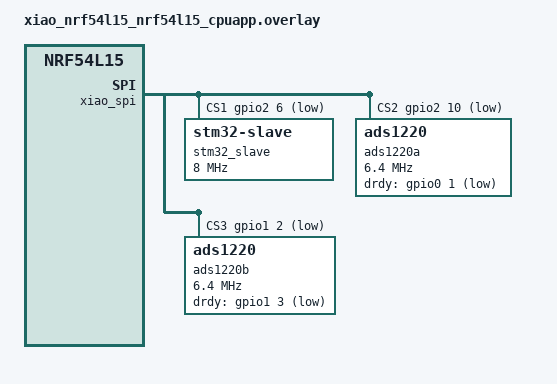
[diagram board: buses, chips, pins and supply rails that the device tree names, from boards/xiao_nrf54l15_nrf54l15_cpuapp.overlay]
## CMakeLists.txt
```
#
# Copyright (c) 2018 Nordic Semiconductor
#
# SPDX-License-Identifier: LicenseRef-Nordic-5-Clause
#
cmake_minimum_required(VERSION 3.20.0)

set(BOARD_FLASH_RUNNER nrfutil)
set(BOARD_ROOT $ENV{ZEPHYR_BASE} CACHE PATH "" FORCE)
find_package(Zephyr REQUIRED HINTS $ENV{ZEPHYR_BASE})
project(app_esb_receiver)

include(${CMAKE_CURRENT_SOURCE_DIR}/../common/CMakeLists.txt)

target_sources(app PRIVATE
    src/main.cpp
)

exo_add_ads1220_spi(app)
```

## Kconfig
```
#
# Copyright (c) 2025
#
# SPDX-License-Identifier: LicenseRef-Nordic-5-Clause
#

source "Kconfig.zephyr"

rsource "../common/Kconfig"
```

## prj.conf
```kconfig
#
# Copyright (c) 2019 Nordic Semiconductor ASA
#
# SPDX-License-Identifier: LicenseRef-Nordic-5-Clause
#

#------ APP node ID ----
# EXO_NODE_ESB_RECEIVER
CONFIG_EXO_NODE_ID=1

#------ logging AND console ----
CONFIG_NCS_BOOT_BANNER=n
CONFIG_BOOT_BANNER=n
CONFIG_LOG=n
CONFIG_CONSOLE=n
CONFIG_PRINTK=n
CONFIG_USE_SEGGER_RTT=n
CONFIG_RTT_CONSOLE=n
CONFIG_UART_CONSOLE=n
CONFIG_LOG_BACKEND_RTT=n

#------ DEBUG ----
# CONFIG_STACK_SENTINEL=y
# CONFIG_THREAD_STACK_INFO=y
# CONFIG_INIT_STACKS=y
# CONFIG_ASSERT=y

#------ OPTIMIZATIONS -----
CONFIG_DEBUG_OPTIMIZATIONS=y

#------ CPP -----
CONFIG_CPP=y

#------ FPU -----
CONFIG_FPU=y
CONFIG_NEWLIB_LIBC=y

#------ HEAP -----
CONFIG_HEAP_MEM_POOL_SIZE=8192

#------ GPIO -----
CONFIG_GPIO=y

#------ UART -----
CONFIG_SERIAL=n

#------ SPI -----
CONFIG_SPI=y

#------ ESB (PRX) -----
CONFIG_ESB=y
CONFIG_ESB_MAX_PAYLOAD_LENGTH=252
CONFIG_CLOCK_CONTROL=y

# No BLE, No I2C, No ADC
```

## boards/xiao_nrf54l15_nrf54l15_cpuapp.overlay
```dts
/* ESB receiver with STM32 SPI output and two ADS1220 converters. */

#include "../../common/boards/xiao_base.overlay"

&i2c22 { status = "disabled"; };
&i2c30 { status = "disabled"; };

&xiao_spi {
	status = "okay";
	compatible = "nordic,nrf-spim";
	cs-gpios = <&gpio1 12 GPIO_ACTIVE_LOW>, <&gpio2 6 GPIO_ACTIVE_LOW>,
		   <&gpio2 10 GPIO_ACTIVE_LOW>, <&gpio1 2 GPIO_ACTIVE_LOW>;

	icm42688: icm42688@0 {
		status = "disabled";
		reg = <0>;
	};

	stm32_slave: stm32_slave@1 {
		status = "okay";
		compatible = "stm32-slave";
		reg = <1>;
		spi-max-frequency = <8000000>;
	};

	ads1220a: ads1220a@2 {
		status = "okay";
		compatible = "ads1220";
		reg = <2>;
		spi-max-frequency = <6400000>;
		drdy-gpios = <&gpio0 1 GPIO_ACTIVE_LOW>;
	};

	ads1220b: ads1220b@3 {
		status = "okay";
		compatible = "ads1220";
		reg = <3>;
		spi-max-frequency = <6400000>;
		drdy-gpios = <&gpio1 3 GPIO_ACTIVE_LOW>;
	};
};
```

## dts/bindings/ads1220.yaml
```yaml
# dts/bindings/exo,ads1220.yaml

description: Texas Instruments ADS1220 24-bit ADC for Exoskeleton Sensor Node

compatible: "ads1220"

# 核心继承：告诉 Zephyr 这是一个 SPI 设备，自动获得 reg 和 spi-max-frequency 等基础属性
include: spi-device.yaml

# 扩展属性：声明我们在这个设备上额外接了哪些专属硬件线
properties:
  drdy-gpios:
    type: phandle-array
    description: |
      Data Ready (DRDY) interrupt pin. 
      This pin is asserted low by the ADS1220 when a new conversion result is available.
      Used to trigger the 1000Hz hardware data acquisition loop.
```

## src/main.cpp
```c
/*
 * Copyright (c) 2018 Nordic Semiconductor ASA
 *
 * SPDX-License-Identifier: LicenseRef-Nordic-5-Clause
 */

#include <zephyr/kernel.h>
#include "main.h"
#include "bsp_esb.h"
#include "bsp_led.h"
#include "bsp_ads1220.hpp"
#include <zephyr/drivers/spi.h>
#include <zephyr/logging/log.h>

LOG_MODULE_REGISTER(main, LOG_LEVEL_INF);

static const struct spi_dt_spec stm32_slave_spec = SPI_DT_SPEC_GET(
  DT_NODELABEL(stm32_slave),
  SPI_WORD_SET(8) | SPI_TRANSFER_MSB);

static exo_sensor_packet_t exo_sensor_data_snapshot;
static struct spi_buf tx_spi_buf = {.buf = &exo_sensor_data_snapshot, .len = sizeof(exo_sensor_packet_t)};
static struct spi_buf_set tx_set = {.buffers = &tx_spi_buf, .count = 1};

static int32_t left_uV_0_1;
static int32_t left_uV_2_3;
static int32_t right_uV_0_1;
static int32_t right_uV_2_3;

/** ADS1220 force measurement thread */
#define FORCE_MEAS_THREAD_STACKSIZE 1024
#define FORCE_MEAS_THREAD_PRIORITY 2

static const struct spi_dt_spec ads1220a_spec = SPI_DT_SPEC_GET(
  DT_NODELABEL(ads1220a),
  SPI_OP_MODE_MASTER | SPI_WORD_SET(8) | SPI_LINES_SINGLE | SPI_MODE_CPHA);
const struct gpio_dt_spec ads1220a_drdy_spec = GPIO_DT_SPEC_GET(DT_NODELABEL(ads1220a), drdy_gpios);
ADS1220 ads1220a;

static const struct spi_dt_spec ads1220b_spec = SPI_DT_SPEC_GET(
  DT_NODELABEL(ads1220b),
  SPI_OP_MODE_MASTER | SPI_WORD_SET(8) | SPI_LINES_SINGLE | SPI_MODE_CPHA);
const struct gpio_dt_spec ads1220b_drdy_spec = GPIO_DT_SPEC_GET(DT_NODELABEL(ads1220b), drdy_gpios);
ADS1220 ads1220b;

void force_meas_thread(void *p1, void *p2, void *p3)
{
  ARG_UNUSED(p1);
  ARG_UNUSED(p2);
  ARG_UNUSED(p3);

  bool is_ok_a = ads1220a.begin(&ads1220a_spec, &ads1220a_drdy_spec);
  bool is_ok_b = ads1220b.begin(&ads1220b_spec, &ads1220b_drdy_spec);
  bool current_is_0_1 = true;
  if (is_ok_a && is_ok_b)
  {
    ads1220a.disableDrdyInterrupt();
    ads1220a.setCompareChannels(ADS1220_MUX_0_1);
    ads1220b.setCompareChannels(ADS1220_MUX_0_1);
    k_sem_reset(&ads1220b.data_ready_sem_);
    ads1220a.start();
    ads1220b.start();
    current_is_0_1 = true;
  }
  else
  {
    LOG_ERR("ads1220 begin failed: is_ok_a = %d, is_ok_b = %d", is_ok_a, is_ok_b);
    return;
  }

  int32_t a_raw_data = 0;
  int32_t b_raw_data = 0;
  while (1)
  {
    k_sem_take(&ads1220b.data_ready_sem_, K_FOREVER);

    b_raw_data = ads1220b.getRawData();
    a_raw_data = ads1220a.getRawData();
    if (current_is_0_1)
    {
      left_uV_0_1 = a_raw_data;
      right_uV_0_1 = b_raw_data;
      ads1220a.setCompareChannels(ADS1220_MUX_2_3);
      ads1220b.setCompareChannels(ADS1220_MUX_2_3);
    }
    else
    {
      left_uV_2_3 = a_raw_data;
      right_uV_2_3 = b_raw_data;
      ads1220a.setCompareChannels(ADS1220_MUX_0_1);
      ads1220b.setCompareChannels(ADS1220_MUX_0_1);
      LOG_DBG("left_uV_0_1: %d, left_uV_2_3: %d, right_uV_0_1: %d, right_uV_2_3: %d",
              left_uV_0_1,
              left_uV_2_3,
              right_uV_0_1,
              right_uV_2_3);
    }

    k_sem_reset(&ads1220b.data_ready_sem_);
    ads1220a.start();
    ads1220b.start();

    if (!current_is_0_1)
    {
      k_spinlock_key_t key = k_spin_lock(&exo_data_lock);
      memcpy(&exo_sensor_data_snapshot, &exo_sensor_data, sizeof(exo_sensor_packet_t));
      k_spin_unlock(&exo_data_lock, key);

      int spi_err = spi_write_dt(&stm32_slave_spec, &tx_set);
      if (spi_err)
      {
        LOG_ERR("spi_write_dt() failed, err %d", spi_err);
      }
    }
    current_is_0_1 = !current_is_0_1;
  }
}

K_THREAD_DEFINE(force_meas_thread_id, FORCE_MEAS_THREAD_STACKSIZE, force_meas_thread, NULL, NULL, NULL, FORCE_MEAS_THREAD_PRIORITY, 0, 0);

static void esb_rx_handler(const uint8_t *data, size_t length)
{
  static uint32_t left_cnt = 0;
  static uint32_t right_cnt = 0;
  if (length == 1 + sizeof(foot_sensor_packet_t))
  {
    k_spinlock_key_t key = k_spin_lock(&exo_data_lock);
    if (data[0] == EXO_NODE_ESB_FOOT_LEFT)
    {
      memcpy(&exo_sensor_data.left_foot, data + 1, sizeof(foot_sensor_packet_t));
      left_cnt++;
    }
    else if (data[0] == EXO_NODE_ESB_FOOT_RIGHT)
    {
      memcpy(&exo_sensor_data.right_foot, data + 1, sizeof(foot_sensor_packet_t));
      right_cnt++;
    }
    k_spin_unlock(&exo_data_lock, key);
  }
  LOG_DBG_RATELIMIT_RATE(200, "left: %d, right: %d", left_cnt, right_cnt);
}

/** main */
int main(void)
{
  int err = 0;

  bsp_led_init();

  if (!spi_is_ready_dt(&stm32_slave_spec))
  {
    LOG_ERR("STM32 SPI device is not ready");
    return 0;
  }

  err = clocks_start();
  if (err)
  {
    LOG_ERR("clocks_start() failed, err %d", err);
    return 0;
  }
  err = esb_initialize();
  if (err)
  {
    LOG_ERR("esb_initialize() failed, err %d", err);
    return 0;
  }

  esb_set_rx_callback(esb_rx_handler);

  err = esb_start_rx();
  if (err)
  {
    LOG_ERR("esb_start_rx() failed, err %d", err);
    return 0;
  }

  k_sleep(K_FOREVER);

  return 0;
}
```
